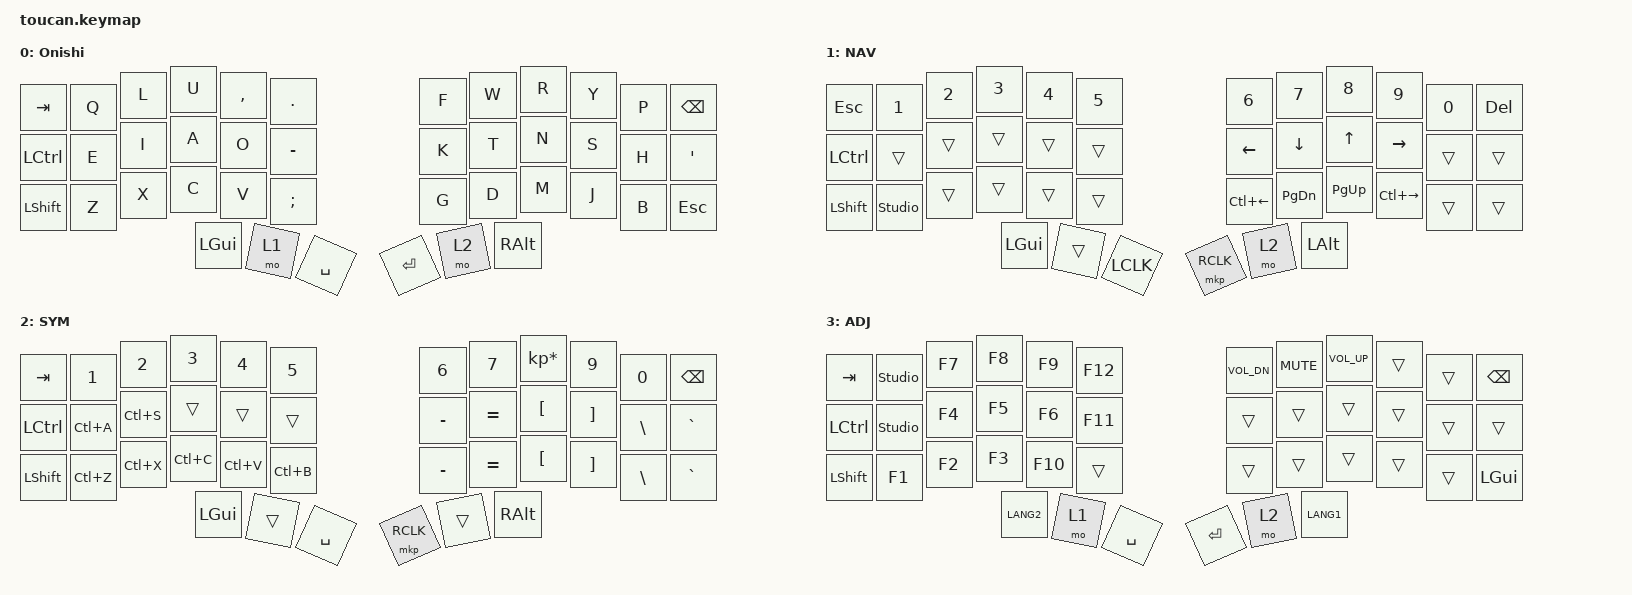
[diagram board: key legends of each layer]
/*
 * Copyright (c) 2020 The ZMK Contributors
 *
 * SPDX-License-Identifier: MIT
 */

#include <behaviors.dtsi>
#include <dt-bindings/zmk/keys.h>
#include <dt-bindings/zmk/bt.h>
#include <dt-bindings/zmk/outputs.h>
#include <dt-bindings/zmk/mouse.h>

/ {
    conditional_layers {
        compatible = "zmk,conditional-layers";
        tri_layer {
            if-layers = <1 2>;
            then-layer = <3>;
        };
    };

    keymap {
        compatible = "zmk,keymap";

        // BASE レイヤー: 大西配列 (o24.works 仕様準拠)
        base {
            display-name = "Onishi";
            bindings = <
                &kp TAB   &kp Q &kp L &kp U &kp COMMA &kp DOT   &kp F &kp W  &kp R     &kp Y   &kp P    &kp BSPC
                &kp LCTRL &kp E &kp I &kp A &kp O     &kp MINUS &kp K &kp T  &kp N     &kp S   &kp H    &kp SQT
                &kp LSHFT &kp Z &kp X &kp C &kp V     &kp SEMI  &kp G &kp D  &kp M     &kp J   &kp B    &kp ESC
                                &kp LGUI &mo 1 &kp SPACE        &kp RET &mo 2 &kp RALT
            >;
        };

        nav {
            display-name = "NAV";
            bindings = <
                &kp ESC 
                  &kp N1 &kp N2 &kp N3 &kp N4 &kp N5   &kp N6   &kp N7    &kp N8    &kp N9    &kp N0 &kp DEL
                &kp LCTRL &trans &trans &trans &trans &trans   &kp LEFT &kp DOWN  &kp UP    &kp RIGHT &trans &trans
                &kp LSHFT &studio_unlock &trans &trans &trans &trans   &kp LC(LEFT) &kp PG_DN &kp PG_UP &kp LC(RIGHT) &trans &trans
                                 &kp LGUI &trans &kp LCLK        &mkp RCLK &mo 2 &kp LALT
            >;
        };

        sym {
            display-name = "SYM";
            bindings = <
                &kp TAB   &kp N1    &kp N2    &kp N3    &kp N4    &kp N5      &kp N6    &kp N7    &kp KP_MULTIPLY &kp N9    &kp N0   &kp BSPC
                &kp LCTRL &kp LC(A) &kp LC(S) &trans    &trans    &trans      &kp MINUS &kp EQUAL &kp LBKT        &kp RBKT  &kp BSLH &kp GRAVE
                &kp LSHFT &kp LC(Z) &kp LC(X) &kp LC(C) &kp LC(V) &kp LC(B)   &kp MINUS &kp EQUAL &kp LBKT        &kp RBKT  &kp BSLH &kp GRAVE
                                 &kp LGUI &trans &kp SPACE        &mkp RCLK &trans &kp RALT
            >;
        };
        
        adj {
            display-name = "ADJ";
            bindings = <
                &kp TAB   &studio_unlock &kp F7 &kp F8 &kp F9 &kp F12   &kp C_VOL_DN &kp C_MUTE &kp C_VOL_UP &trans &trans &kp BSPC
                &kp LCTRL &studio_unlock &kp F4 &kp F5 &kp F6 &kp F11   &trans       &trans     &trans       &trans &trans &trans
                &kp LSHFT &kp F1 &kp F2 &kp F3 &kp F10 &trans   &trans       &trans     &trans       &trans &trans &kp LGUI
                                 &kp LANG2 &mo 1 &kp SPACE        &kp RET &mo 2 &kp LANG1
            >;
        };
    };
};
